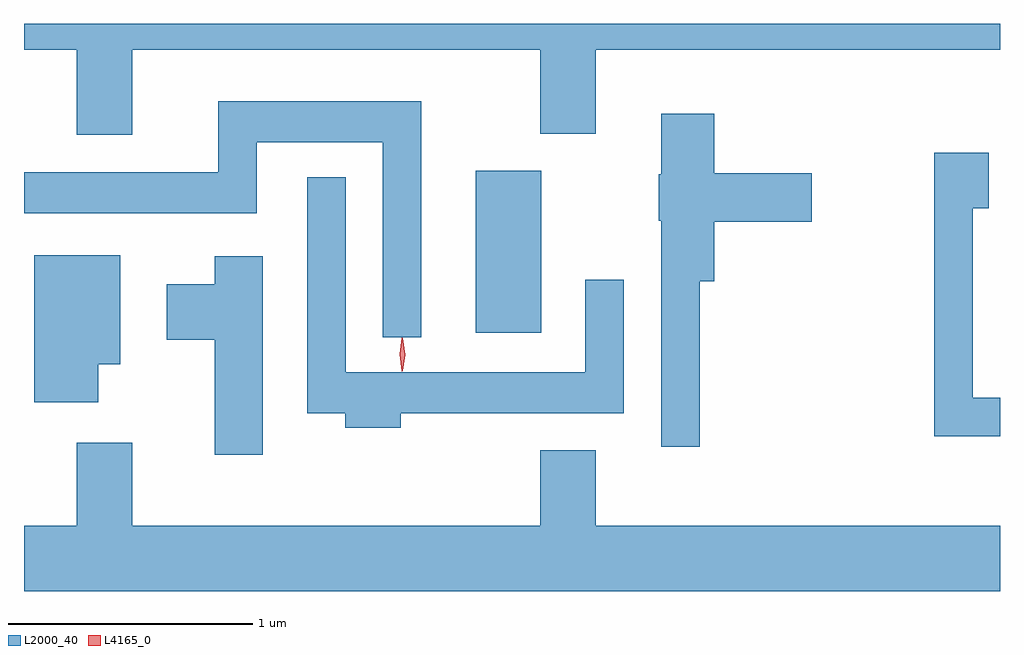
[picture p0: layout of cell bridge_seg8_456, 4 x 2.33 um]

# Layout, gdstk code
import gdstk
lib = gdstk.Library(unit=1e-6, precision=1e-09)
def R(c, l, rs):  # rectangles x0, y0, x1, y1
    for r in rs: c.add(gdstk.rectangle(r[:2], r[2:], *l))
def P(c, l, *ps):  # polygons
    for p in ps: c.add(gdstk.Polygon(p, *l))
L2000_40 = (2000, 40)
L4165_0 = (4165, 0)

bridge_seg8_456 = lib.new_cell('bridge_seg8_456')
R(bridge_seg8_456, L2000_40, [(538.636,1935.156,538.904,1935.819)])
P(bridge_seg8_456, L2000_40, [(537.229,1936.316),(538.901,1936.316),(538.901,1935.971),(539.129,1935.971),(539.129,1936.316),(540.785,1936.316),(540.785,1936.422),(536.785,1936.422),(536.785,1936.316),(537.001,1936.316),(537.001,1935.966),(537.229,1935.966)],
  [(538.414,1936.104),(537.581,1936.104),(537.581,1935.814),(536.785,1935.814),(536.785,1935.646),(537.739,1935.646),(537.739,1935.936),(538.256,1935.936),(538.256,1935.138),(538.414,1935.138)],
  [(539.554,1935.366),(539.614,1935.366),(539.614,1935.611),(540.014,1935.611),(540.014,1935.809),(539.614,1935.809),(539.614,1936.054),(539.396,1936.054),(539.396,1935.805),(539.386,1935.805),(539.386,1935.615),(539.396,1935.615),(539.396,1934.688),(539.554,1934.688)],
  [(540.785,1934.889),(540.674,1934.889),(540.674,1935.666),(540.739,1935.666),(540.739,1935.894),(540.516,1935.894),(540.516,1934.731),(540.785,1934.731)],
  [(538.329,1934.826),(539.244,1934.826),(539.244,1935.373),(539.086,1935.373),(539.086,1934.994),(538.104,1934.994),(538.104,1935.793),(537.946,1935.793),(537.946,1934.826),(538.101,1934.826),(538.101,1934.766),(538.329,1934.766)],
  [(537.089,1935.026),(537.179,1935.026),(537.179,1935.474),(536.826,1935.474),(536.826,1934.871),(537.089,1934.871)],
  [(537.764,1935.469),(537.566,1935.469),(537.566,1935.354),(537.371,1935.354),(537.371,1935.126),(537.566,1935.126),(537.566,1934.656),(537.764,1934.656)],
  [(540.785,1934.364),(539.129,1934.364),(539.129,1934.674),(538.901,1934.674),(538.901,1934.364),(537.229,1934.364),(537.229,1934.704),(537.001,1934.704),(537.001,1934.364),(536.785,1934.364),(536.785,1934.096),(540.785,1934.096)])
P(bridge_seg8_456, L4165_0, [(538.334,1934.997),(538.325,1935.067),(538.334,1935.136),(538.335,1935.136),(538.335,1935.136),(538.345,1935.067),(538.335,1934.997),(538.335,1934.997)],
  [(538.336,1935),(538.327,1935.066),(538.336,1935.132),(538.337,1935.133),(538.337,1935.132),(538.347,1935.066),(538.337,1935),(538.337,1935)])

lib.write_gds('bridge_seg8_456.gds')
